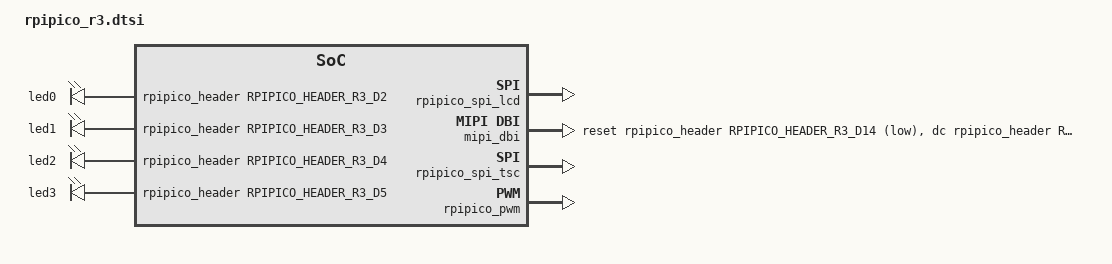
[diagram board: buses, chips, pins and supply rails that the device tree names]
/*
 * SPDX-FileCopyrightText: Copyright (c) 2024-2026 TiaC Systems
 * SPDX-License-Identifier: Apache-2.0
 */

#include "rpipico_r3-connect.dtsi"

#include "ili9341_320x240.dtsi"
#include "ili9341_bgr565.dtsi"
#include "xpt2046_240x320.dtsi"

#include <zephyr/dt-bindings/gpio/gpio.h>
#include <zephyr/dt-bindings/pwm/pwm.h>

#include <zephyr/dt-bindings/gpio/raspberrypi-pico-header-r3.h>

&rpipico_spi_lcd {
	status = "okay";
	cs-gpios = <&rpipico_header RPIPICO_HEADER_R3_D13 GPIO_ACTIVE_LOW>;	/* GP13 */
};

&mipi_dbi {
	status = "okay";
	reset-gpios = <&rpipico_header RPIPICO_HEADER_R3_D14 GPIO_ACTIVE_LOW>;	/* GP14 */
	dc-gpios = <&rpipico_header RPIPICO_HEADER_R3_D15 GPIO_ACTIVE_HIGH>;	/* GP15 */
	spi-dev = <&rpipico_spi_lcd>;
	#address-cells = <1>;
	#size-cells = <0>;
};

&lcd_panel {
	status = "okay";
};

&rpipico_spi_tsc {
	status = "okay";
	cs-gpios = <&rpipico_header RPIPICO_HEADER_R3_D12 GPIO_ACTIVE_LOW>;	/* GP12 */
};

&tsc_panel {
	status = "okay";
	int-gpios = <&rpipico_header RPIPICO_HEADER_R3_D9 GPIO_ACTIVE_LOW>;	/* GP9 */
};

&rpipico_pwm {
	status = "okay";
	divider-frac-1 = <15>;
	divider-int-1 = <255>;
	divider-frac-2 = <15>;
	divider-int-2 = <255>;
	divider-frac-3 = <15>;
	divider-int-3 = <255>;
};

&pwm_buzzer0 {									/* GP22:PWM3CHA */
	pwms = <&rpipico_pwm 6 PWM_HZ(2700) PWM_POLARITY_NORMAL>;
};

&pwm_led0 {									/* GP2:PWM1A */
	pwms = <&rpipico_pwm 2 PWM_MSEC(20) PWM_POLARITY_NORMAL>;
};

&pwm_led1 {									/* GP3:PWM1B */
	pwms = <&rpipico_pwm 3 PWM_MSEC(20) PWM_POLARITY_NORMAL>;
};

&pwm_led2 {									/* GP4:PWM2A */
	pwms = <&rpipico_pwm 4 PWM_MSEC(20) PWM_POLARITY_NORMAL>;
};

&pwm_led3 {									/* GP5:PWM2B */
	pwms = <&rpipico_pwm 5 PWM_MSEC(20) PWM_POLARITY_NORMAL>;
};

&led0 {										/* GP2 */
	gpios = <&rpipico_header RPIPICO_HEADER_R3_D2 GPIO_ACTIVE_HIGH>;
};

&led1 {										/* GP3 */
	gpios = <&rpipico_header RPIPICO_HEADER_R3_D3 GPIO_ACTIVE_HIGH>;
};

&led2 {										/* GP4 */
	gpios = <&rpipico_header RPIPICO_HEADER_R3_D4 GPIO_ACTIVE_HIGH>;
};

&led3 {										/* GP5 */
	gpios = <&rpipico_header RPIPICO_HEADER_R3_D5 GPIO_ACTIVE_HIGH>;
};

&btn0 {										/* GP16 */
	gpios = <&rpipico_header RPIPICO_HEADER_R3_D16 (GPIO_PULL_UP | GPIO_ACTIVE_LOW)>;
};

&btn1 {										/* GP17 */
	gpios = <&rpipico_header RPIPICO_HEADER_R3_D17 (GPIO_PULL_UP | GPIO_ACTIVE_LOW)>;
};

&btn2 {										/* GP18 */
	gpios = <&rpipico_header RPIPICO_HEADER_R3_D18 (GPIO_PULL_UP | GPIO_ACTIVE_LOW)>;
};

&btn3 {										/* GP19 */
	gpios = <&rpipico_header RPIPICO_HEADER_R3_D19 (GPIO_PULL_UP | GPIO_ACTIVE_LOW)>;
};
